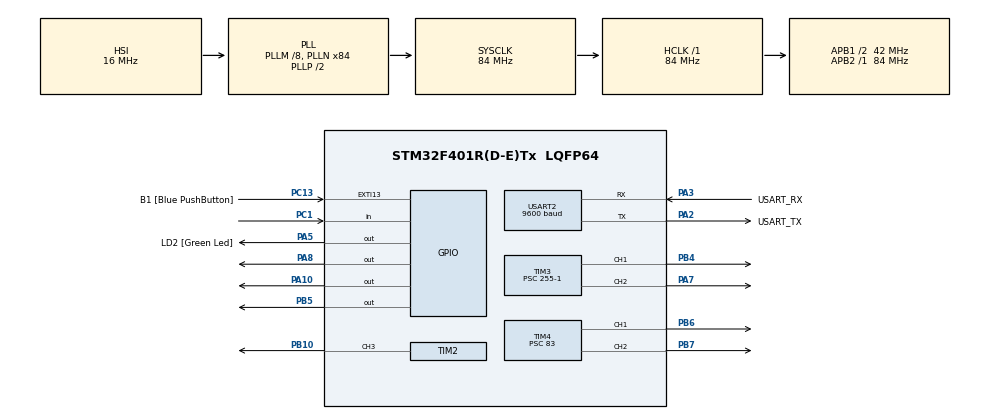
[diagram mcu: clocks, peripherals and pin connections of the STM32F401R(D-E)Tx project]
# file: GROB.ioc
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Mcu.Family=STM32F4
Mcu.Name=STM32F401R(D-E)Tx
Mcu.Package=LQFP64
NVIC.PriorityGroup=NVIC_PRIORITYGROUP_0
PA10.Signal=GPIO_Output
PA13.GPIO_Label=TMS
PA13.Mode=Serial_Wire
PA13.Signal=SYS_JTMS-SWDIO
PA14.GPIO_Label=TCK
PA14.Mode=Serial_Wire
PA14.Signal=SYS_JTCK-SWCLK
PA2.GPIO_Label=USART_TX
PA2.GPIO_Mode=GPIO_MODE_AF_PP
PA2.GPIO_PuPd=GPIO_NOPULL
PA2.GPIO_Speed=GPIO_SPEED_FREQ_LOW
PA2.Mode=Asynchronous
PA2.Signal=USART2_TX
PA3.GPIO_Label=USART_RX
PA3.GPIO_Mode=GPIO_MODE_AF_PP
PA3.GPIO_PuPd=GPIO_NOPULL
PA3.GPIO_Speed=GPIO_SPEED_FREQ_LOW
PA3.Mode=Asynchronous
PA3.Signal=USART2_RX
PA5.GPIO_Label=LD2 [Green Led]
PA5.GPIO_Mode=GPIO_MODE_OUTPUT_PP
PA5.GPIO_PuPd=GPIO_NOPULL
PA5.GPIO_Speed=GPIO_SPEED_FREQ_LOW
PA5.Signal=GPIO_Output
PA7.Signal=S_TIM3_CH2
PA8.Signal=GPIO_Output
PB10.Signal=S_TIM2_CH3
PB4.Signal=S_TIM3_CH1
PB5.Signal=GPIO_Output
PB6.Signal=S_TIM4_CH1
PB7.Signal=S_TIM4_CH2
PC1.Signal=GPIO_Input
PC13-ANTI_TAMP.GPIO_Label=B1 [Blue PushButton]
PC13-ANTI_TAMP.GPIO_ModeDefaultEXTI=GPIO_MODE_IT_FALLING
PC13-ANTI_TAMP.GPIO_PuPd=GPIO_NOPULL
PC13-ANTI_TAMP.Signal=GPXTI13
PH0\ -\ OSC_IN.Mode=HSE-External-Oscillator
PH0\ -\ OSC_IN.Signal=RCC_OSC_IN
PH1\ -\ OSC_OUT.Mode=HSE-External-Oscillator
PH1\ -\ OSC_OUT.Signal=RCC_OSC_OUT
ProjectManager.HeapSize=0x200
ProjectManager.StackSize=0x400
ProjectManager.TargetToolchain=STM32CubeIDE
RCC.48MHZClocksFreq_Value=24000000
RCC.AHBFreq_Value=84000000
RCC.APB1CLKDivider=RCC_HCLK_DIV2
RCC.APB1Freq_Value=42000000
RCC.APB1TimFreq_Value=84000000
RCC.APB2Freq_Value=84000000
RCC.APB2TimFreq_Value=84000000
RCC.CortexFreq_Value=84000000
RCC.HCLKFreq_Value=84000000
RCC.HSE_VALUE=8000000
RCC.HSI_VALUE=16000000
RCC.LSE_VALUE=32768
RCC.PLLM=8
RCC.PLLN=84
RCC.PLLQ=7
RCC.SYSCLKFreq_VALUE=84000000
RCC.SYSCLKSource=RCC_SYSCLKSOURCE_PLLCLK
RCC.VCOOutputFreq_Value=168000000
SH.S_TIM2_CH3.0=TIM2_CH3,PWM Generation3 CH3
SH.S_TIM3_CH1.0=TIM3_CH1,PWM Generation1 CH1
SH.S_TIM3_CH2.0=TIM3_CH2,PWM Generation2 CH2
SH.S_TIM4_CH1.0=TIM4_CH1,PWM Generation1 CH1
SH.S_TIM4_CH2.0=TIM4_CH2,PWM Generation2 CH2
TIM1.Prescaler=83
TIM2.AutoReloadPreload=TIM_AUTORELOAD_PRELOAD_ENABLE
TIM2.Channel-PWM\ Generation3\ CH3=TIM_CHANNEL_3
TIM2.Period=999
TIM2.Prescaler=255-1
TIM3.AutoReloadPreload=TIM_AUTORELOAD_PRELOAD_ENABLE
TIM3.Channel-PWM\ Generation1\ CH1=TIM_CHANNEL_1
TIM3.Channel-PWM\ Generation2\ CH2=TIM_CHANNEL_2
TIM3.Period=999
TIM3.Prescaler=255-1
TIM3.Pulse-PWM\ Generation1\ CH1=0
TIM4.Channel-PWM\ Generation1\ CH1=TIM_CHANNEL_1
TIM4.Channel-PWM\ Generation2\ CH2=TIM_CHANNEL_2
TIM4.Period=999
TIM4.Prescaler=83
USART2.BaudRate=9600
USART2.VirtualMode=VM_ASYNC
VP_TIM1_VS_ClockSourceINT.Mode=Internal
VP_TIM2_VS_ClockSourceINT.Mode=Internal
VP_TIM3_VS_ClockSourceINT.Mode=Internal
VP_TIM4_VS_ClockSourceINT.Mode=Internal
board=NUCLEO-F401RE

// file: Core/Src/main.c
/* USER CODE BEGIN Header */
/**
  ******************************************************************************
  * @file           : main.c
  * @brief          : Main program body
  ******************************************************************************
  * @attention
  *
  * Copyright (c) 2025 STMicroelectronics.
  * All rights reserved.
  *
  * This software is licensed under terms that can be found in the LICENSE file
  * in the root directory of this software component.
  * If no LICENSE file comes with this software, it is provided AS-IS.
  *
  ******************************************************************************
  */
/* USER CODE END Header */
#include "main.h"

/* USER CODE BEGIN Includes */
#include "Motors Inc/motors.h"
#include "Motors Inc/bts7960.h"
#include "Sensors Inc/ultrasonics.h"
/* USER CODE END Includes */

TIM_HandleTypeDef htim1;
TIM_HandleTypeDef htim2;
TIM_HandleTypeDef htim3;
TIM_HandleTypeDef htim4;

UART_HandleTypeDef huart2;

/* USER CODE BEGIN PV */
Motor LBrush;
Motor RBrush;
Motor Flipper;
BTS7960 Winch;
Ultrasonic dist_sensor1;

/*Left brush moves CCW while RB moves CW */
uint16_t LBrush_duty = 408;
uint16_t RBrush_duty = 492;
uint16_t brush_stationary_duty = 500;
uint16_t flipper_ground_duty = 1500;
uint16_t flipper_up_duty = 500;
uint16_t crush_duty = 25;
uint16_t uncrush_duty = 25;

bool clockwise = true;
bool counterclockwise = false;
bool MotorDriver = true;
bool noMotorDriver = false;
bool crush = true;
bool uncrush = false;

/* USER CODE END PV */

void SystemClock_Config(void);
static void MX_GPIO_Init(void);
static void MX_USART2_UART_Init(void);
static void MX_TIM3_Init(void);
static void MX_TIM2_Init(void);
static void MX_TIM4_Init(void);
static void MX_TIM1_Init(void);

int main(void)
{

  /* MCU Configuration--------------------------------------------------------*/

  /* Reset of all peripherals, Initializes the Flash interface and the Systick. */
  HAL_Init();

  /* Configure the system clock */
  SystemClock_Config();

  /* Initialize all configured peripherals */
  MX_GPIO_Init();
  MX_USART2_UART_Init();
  MX_TIM3_Init();
  MX_TIM2_Init();
  MX_TIM4_Init();
  MX_TIM1_Init();
  /* USER CODE BEGIN 2 */

  //Initialize motors for brushes, flipper and winch
  initMotor(&LBrush,&htim3, TIM_CHANNEL_1, brush_stationary_duty, NULL, 0, NULL, 0, counterclockwise, noMotorDriver);
  initMotor(&RBrush,&htim3, TIM_CHANNEL_2, brush_stationary_duty, NULL, 0, NULL, 0, clockwise, noMotorDriver);
  initMotor(&Flipper,&htim2, TIM_CHANNEL_3, flipper_ground_duty, NULL, 0, NULL, 0, counterclockwise, noMotorDriver);
  initWinch(&Winch,&htim4, TIM_CHANNEL_1,TIM_CHANNEL_2, 0,0, Winch_FWD_EN_GPIO_Port, Winch_FWD_EN_Pin, Winch_REV_EN_GPIO_Port, Winch_REV_EN_Pin, uncrush);

  //Initialize ultrasonic sensors
  initUltrasonic(&dist_sensor1,&htim1,Ultrasonic1_Trig_GPIO_Port,Ultrasonic1_Trig_Pin,Ultrasonic1_Echo_GPIO_Port,Ultrasonic1_Echo_Pin);
  /* USER CODE END 2 */

  /* Infinite loop */
  while (1)
  {

    /* USER CODE BEGIN 3 */
	  //wait for a request to scoop
	  while (HAL_GPIO_ReadPin(B1_GPIO_Port, B1_Pin));

	  HAL_Delay(2000);

	  //turn on brushes
	  startBrushes(&LBrush,&RBrush, LBrush_duty, RBrush_duty);

	  //wait for garbage to be on the scoop
	  HAL_Delay(5000);

	  //turn off brushes
	  stopBrushes(&LBrush,&RBrush, brush_stationary_duty);

	  //start flipper
	  startMotor(&Flipper, counterclockwise, flipper_up_duty);

	  //stop flipper at top position
	  stopMotor(&Flipper);

	  //return flipper to ground position
	  startMotor(&Flipper, clockwise, flipper_ground_duty);

	  //stop flipper at ground position
	  stopMotor(&Flipper);

	  //if bin is full, start compactor
	  if(readUltrasonic(&dist_sensor1)<16){
		  startWinch(&Winch, crush, crush_duty);
		  //when compacted (sensor sees compacting wall) or time elapsed > x or current >x
		  HAL_Delay(5000);
		  stopWinch(&Winch);
		  HAL_Delay(2000);
		  //reverse winch
		  startWinch(&Winch, uncrush, uncrush_duty);
		  //when compacted (sensor sees compacting wall) or time elapsed > x or current >x
		  stopWinch(&Winch);
	  }

  }
  /* USER CODE END 3 */
}

void SystemClock_Config(void)
{
  RCC_OscInitTypeDef RCC_OscInitStruct = {0};
  RCC_ClkInitTypeDef RCC_ClkInitStruct = {0};

  /** Configure the main internal regulator output voltage
  */
  __HAL_RCC_PWR_CLK_ENABLE();
  __HAL_PWR_VOLTAGESCALING_CONFIG(PWR_REGULATOR_VOLTAGE_SCALE2);

  /** Initializes the RCC Oscillators according to the specified parameters
  * in the RCC_OscInitTypeDef structure.
  */
  RCC_OscInitStruct.OscillatorType = RCC_OSCILLATORTYPE_HSI;
  RCC_OscInitStruct.HSIState = RCC_HSI_ON;
  RCC_OscInitStruct.HSICalibrationValue = RCC_HSICALIBRATION_DEFAULT;
  RCC_OscInitStruct.PLL.PLLState = RCC_PLL_ON;
  RCC_OscInitStruct.PLL.PLLSource = RCC_PLLSOURCE_HSI;
  RCC_OscInitStruct.PLL.PLLM = 8;
  RCC_OscInitStruct.PLL.PLLN = 84;
  RCC_OscInitStruct.PLL.PLLP = RCC_PLLP_DIV2;
  RCC_OscInitStruct.PLL.PLLQ = 7;
  if (HAL_RCC_OscConfig(&RCC_OscInitStruct) != HAL_OK)
  {
    Error_Handler();
  }

  /** Initializes the CPU, AHB and APB buses clocks
  */
  RCC_ClkInitStruct.ClockType = RCC_CLOCKTYPE_HCLK|RCC_CLOCKTYPE_SYSCLK
                              |RCC_CLOCKTYPE_PCLK1|RCC_CLOCKTYPE_PCLK2;
  RCC_ClkInitStruct.SYSCLKSource = RCC_SYSCLKSOURCE_PLLCLK;
  RCC_ClkInitStruct.AHBCLKDivider = RCC_SYSCLK_DIV1;
  RCC_ClkInitStruct.APB1CLKDivider = RCC_HCLK_DIV2;
  RCC_ClkInitStruct.APB2CLKDivider = RCC_HCLK_DIV1;

  if (HAL_RCC_ClockConfig(&RCC_ClkInitStruct, FLASH_LATENCY_2) != HAL_OK)
  {
    Error_Handler();
  }
}

static void MX_TIM1_Init(void)
{

  TIM_ClockConfigTypeDef sClockSourceConfig = {0};
  TIM_MasterConfigTypeDef sMasterConfig = {0};

  htim1.Instance = TIM1;
  htim1.Init.Prescaler = 83;
  htim1.Init.CounterMode = TIM_COUNTERMODE_UP;
  htim1.Init.Period = 65535;
  htim1.Init.ClockDivision = TIM_CLOCKDIVISION_DIV1;
  htim1.Init.RepetitionCounter = 0;
  htim1.Init.AutoReloadPreload = TIM_AUTORELOAD_PRELOAD_DISABLE;
  if (HAL_TIM_Base_Init(&htim1) != HAL_OK)
  {
    Error_Handler();
  }
  sClockSourceConfig.ClockSource = TIM_CLOCKSOURCE_INTERNAL;
  if (HAL_TIM_ConfigClockSource(&htim1, &sClockSourceConfig) != HAL_OK)
  {
    Error_Handler();
  }
  sMasterConfig.MasterOutputTrigger = TIM_TRGO_RESET;
  sMasterConfig.MasterSlaveMode = TIM_MASTERSLAVEMODE_DISABLE;
  if (HAL_TIMEx_MasterConfigSynchronization(&htim1, &sMasterConfig) != HAL_OK)
  {
    Error_Handler();
  }

}

static void MX_TIM2_Init(void)
{

  TIM_ClockConfigTypeDef sClockSourceConfig = {0};
  TIM_MasterConfigTypeDef sMasterConfig = {0};
  TIM_OC_InitTypeDef sConfigOC = {0};

  htim2.Instance = TIM2;
  htim2.Init.Prescaler = 255-1;
  htim2.Init.CounterMode = TIM_COUNTERMODE_UP;
  htim2.Init.Period = 999;
  htim2.Init.ClockDivision = TIM_CLOCKDIVISION_DIV1;
  htim2.Init.AutoReloadPreload = TIM_AUTORELOAD_PRELOAD_ENABLE;
  if (HAL_TIM_Base_Init(&htim2) != HAL_OK)
  {
    Error_Handler();
  }
  sClockSourceConfig.ClockSource = TIM_CLOCKSOURCE_INTERNAL;
  if (HAL_TIM_ConfigClockSource(&htim2, &sClockSourceConfig) != HAL_OK)
  {
    Error_Handler();
  }
  if (HAL_TIM_PWM_Init(&htim2) != HAL_OK)
  {
    Error_Handler();
  }
  sMasterConfig.MasterOutputTrigger = TIM_TRGO_RESET;
  sMasterConfig.MasterSlaveMode = TIM_MASTERSLAVEMODE_DISABLE;
  if (HAL_TIMEx_MasterConfigSynchronization(&htim2, &sMasterConfig) != HAL_OK)
  {
    Error_Handler();
  }
  sConfigOC.OCMode = TIM_OCMODE_PWM1;
  sConfigOC.Pulse = 0;
  sConfigOC.OCPolarity = TIM_OCPOLARITY_HIGH;
  sConfigOC.OCFastMode = TIM_OCFAST_DISABLE;
  if (HAL_TIM_PWM_ConfigChannel(&htim2, &sConfigOC, TIM_CHANNEL_3) != HAL_OK)
  {
    Error_Handler();
  }
  HAL_TIM_MspPostInit(&htim2);

}

static void MX_TIM3_Init(void)
{

  TIM_ClockConfigTypeDef sClockSourceConfig = {0};
  TIM_MasterConfigTypeDef sMasterConfig = {0};
  TIM_OC_InitTypeDef sConfigOC = {0};

  htim3.Instance = TIM3;
  htim3.Init.Prescaler = 255-1;
  htim3.Init.CounterMode = TIM_COUNTERMODE_UP;
  htim3.Init.Period = 999;
  htim3.Init.ClockDivision = TIM_CLOCKDIVISION_DIV1;
  htim3.Init.AutoReloadPreload = TIM_AUTORELOAD_PRELOAD_ENABLE;
  if (HAL_TIM_Base_Init(&htim3) != HAL_OK)
  {
    Error_Handler();
  }
  sClockSourceConfig.ClockSource = TIM_CLOCKSOURCE_INTERNAL;
  if (HAL_TIM_ConfigClockSource(&htim3, &sClockSourceConfig) != HAL_OK)
  {
    Error_Handler();
  }
  if (HAL_TIM_PWM_Init(&htim3) != HAL_OK)
  {
    Error_Handler();
  }
  sMasterConfig.MasterOutputTrigger = TIM_TRGO_RESET;
  sMasterConfig.MasterSlaveMode = TIM_MASTERSLAVEMODE_DISABLE;
  if (HAL_TIMEx_MasterConfigSynchronization(&htim3, &sMasterConfig) != HAL_OK)
  {
    Error_Handler();
  }
  sConfigOC.OCMode = TIM_OCMODE_PWM1;
  sConfigOC.Pulse = 0;
  sConfigOC.OCPolarity = TIM_OCPOLARITY_HIGH;
  sConfigOC.OCFastMode = TIM_OCFAST_DISABLE;
  if (HAL_TIM_PWM_ConfigChannel(&htim3, &sConfigOC, TIM_CHANNEL_1) != HAL_OK)
  {
    Error_Handler();
  }
  if (HAL_TIM_PWM_ConfigChannel(&htim3, &sConfigOC, TIM_CHANNEL_2) != HAL_OK)
  {
    Error_Handler();
  }
  HAL_TIM_MspPostInit(&htim3);

}

static void MX_TIM4_Init(void)
{

  TIM_ClockConfigTypeDef sClockSourceConfig = {0};
  TIM_MasterConfigTypeDef sMasterConfig = {0};
  TIM_OC_InitTypeDef sConfigOC = {0};

  htim4.Instance = TIM4;
  htim4.Init.Prescaler = 83;
  htim4.Init.CounterMode = TIM_COUNTERMODE_UP;
  htim4.Init.Period = 999;
  htim4.Init.ClockDivision = TIM_CLOCKDIVISION_DIV1;
  htim4.Init.AutoReloadPreload = TIM_AUTORELOAD_PRELOAD_DISABLE;
  if (HAL_TIM_Base_Init(&htim4) != HAL_OK)
  {
    Error_Handler();
  }
  sClockSourceConfig.ClockSource = TIM_CLOCKSOURCE_INTERNAL;
  if (HAL_TIM_ConfigClockSource(&htim4, &sClockSourceConfig) != HAL_OK)
  {
    Error_Handler();
  }
  if (HAL_TIM_PWM_Init(&htim4) != HAL_OK)
  {
    Error_Handler();
  }
  sMasterConfig.MasterOutputTrigger = TIM_TRGO_RESET;
  sMasterConfig.MasterSlaveMode = TIM_MASTERSLAVEMODE_DISABLE;
  if (HAL_TIMEx_MasterConfigSynchronization(&htim4, &sMasterConfig) != HAL_OK)
  {
    Error_Handler();
  }
  sConfigOC.OCMode = TIM_OCMODE_PWM1;
  sConfigOC.Pulse = 0;
  sConfigOC.OCPolarity = TIM_OCPOLARITY_HIGH;
  sConfigOC.OCFastMode = TIM_OCFAST_DISABLE;
  if (HAL_TIM_PWM_ConfigChannel(&htim4, &sConfigOC, TIM_CHANNEL_1) != HAL_OK)
  {
    Error_Handler();
  }
  if (HAL_TIM_PWM_ConfigChannel(&htim4, &sConfigOC, TIM_CHANNEL_2) != HAL_OK)
  {
    Error_Handler();
  }
  HAL_TIM_MspPostInit(&htim4);

}

static void MX_USART2_UART_Init(void)
{

  huart2.Instance = USART2;
  huart2.Init.BaudRate = 9600;
  huart2.Init.WordLength = UART_WORDLENGTH_8B;
  huart2.Init.StopBits = UART_STOPBITS_1;
  huart2.Init.Parity = UART_PARITY_NONE;
  huart2.Init.Mode = UART_MODE_TX_RX;
  huart2.Init.HwFlowCtl = UART_HWCONTROL_NONE;
  huart2.Init.OverSampling = UART_OVERSAMPLING_16;
  if (HAL_UART_Init(&huart2) != HAL_OK)
  {
    Error_Handler();
  }

}

static void MX_GPIO_Init(void)
{
  GPIO_InitTypeDef GPIO_InitStruct = {0};

  /* GPIO Ports Clock Enable */
  __HAL_RCC_GPIOC_CLK_ENABLE();
  __HAL_RCC_GPIOH_CLK_ENABLE();
  __HAL_RCC_GPIOA_CLK_ENABLE();
  __HAL_RCC_GPIOB_CLK_ENABLE();

  /*Configure GPIO pin Output Level */
  HAL_GPIO_WritePin(GPIOA, LD2_Pin|GPIO_PIN_8|GPIO_PIN_10, GPIO_PIN_RESET);

  /*Configure GPIO pin Output Level */
  HAL_GPIO_WritePin(GPIOB, GPIO_PIN_5, GPIO_PIN_RESET);

  /*Configure GPIO pin : B1_Pin */
  GPIO_InitStruct.Pin = B1_Pin;
  GPIO_InitStruct.Mode = GPIO_MODE_IT_FALLING;
  GPIO_InitStruct.Pull = GPIO_NOPULL;
  HAL_GPIO_Init(B1_GPIO_Port, &GPIO_InitStruct);

  /*Configure GPIO pin : PC1 */
  GPIO_InitStruct.Pin = GPIO_PIN_1;
  GPIO_InitStruct.Mode = GPIO_MODE_INPUT;
  GPIO_InitStruct.Pull = GPIO_NOPULL;
  HAL_GPIO_Init(GPIOC, &GPIO_InitStruct);

  /*Configure GPIO pins : LD2_Pin PA8 PA10 */
  GPIO_InitStruct.Pin = LD2_Pin|GPIO_PIN_8|GPIO_PIN_10;
  GPIO_InitStruct.Mode = GPIO_MODE_OUTPUT_PP;
  GPIO_InitStruct.Pull = GPIO_NOPULL;
  GPIO_InitStruct.Speed = GPIO_SPEED_FREQ_LOW;
  HAL_GPIO_Init(GPIOA, &GPIO_InitStruct);

  /*Configure GPIO pin : PB5 */
  GPIO_InitStruct.Pin = GPIO_PIN_5;
  GPIO_InitStruct.Mode = GPIO_MODE_OUTPUT_PP;
  GPIO_InitStruct.Pull = GPIO_NOPULL;
  GPIO_InitStruct.Speed = GPIO_SPEED_FREQ_LOW;
  HAL_GPIO_Init(GPIOB, &GPIO_InitStruct);

}

void Error_Handler(void)
{
  __disable_irq();
  while (1)
  {
  }
}
